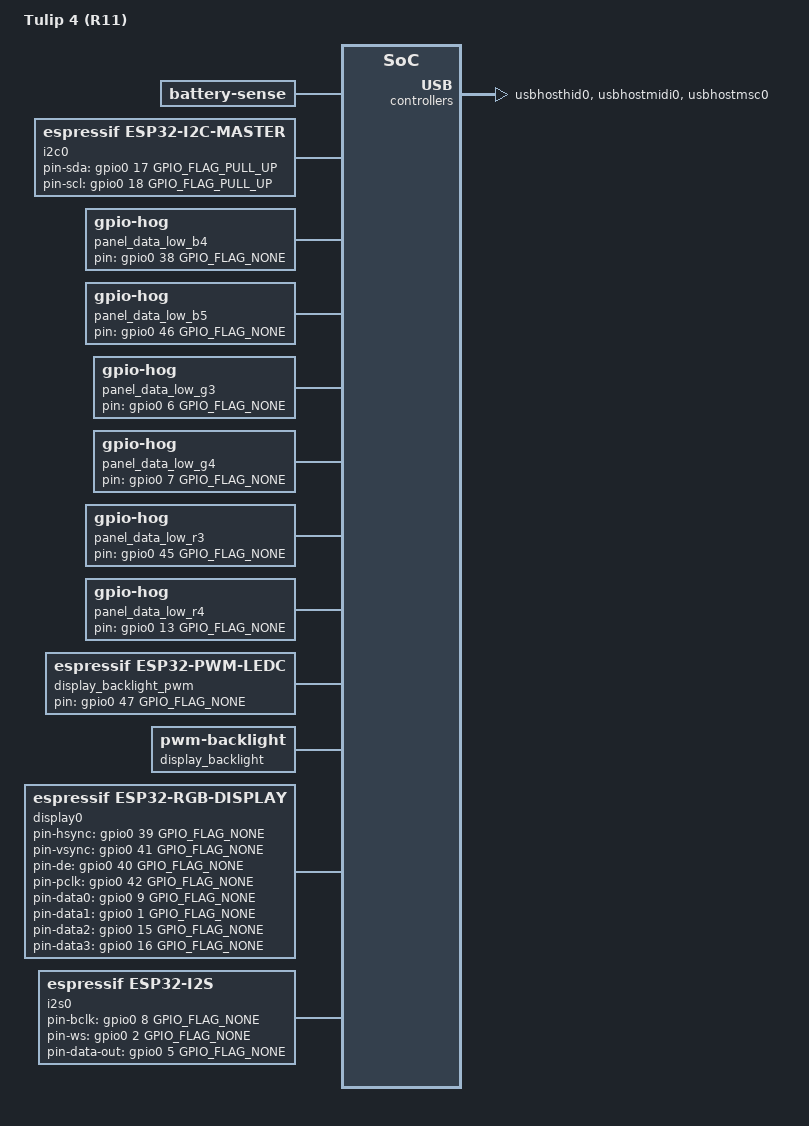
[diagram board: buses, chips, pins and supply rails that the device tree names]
/dts-v1/;

#include <tactility/bindings/battery_sense.h>
#include <tactility/bindings/root.h>
#include <tactility/bindings/esp32_adc_oneshot.h>
#include <tactility/bindings/esp32_ble.h>
#include <tactility/bindings/esp32_wifi_pinned.h>
#include <tactility/bindings/esp32_gpio.h>
#include <tactility/bindings/esp32_i2c_master.h>
#include <tactility/bindings/esp32_i2s.h>
#include <tactility/bindings/esp32_usbhost.h>
#include <tactility/bindings/esp32_pwm_ledc.h>
#include <tactility/bindings/gpio_hog.h>
#include <tactility/bindings/pwm_backlight.h>

#include <bindings/rgb_display.h>
#include <bindings/gt911.h>
#include <bindings/dummy_i2s_amp.h>

// Reference: https: //github.com/TulipCC/tulipcc/
 / {
	compatible = "root";
	model = "Tulip 4 (R11)";

	wifi0 {
		compatible = "espressif,esp32-wifi-pinned";
	};

	ble0 {
		compatible = "espressif,esp32-ble";
	};

	gpio0 {
		compatible = "espressif,esp32-gpio";
		gpio-count = <49>;
	};

	// Battery voltage is sensed through the 470K/470K divider (R34/R38) into GPIO3
	// (ADC1_CH2), i.e. a straight 2: 1 divider; the RY3730 charger IC has no I2C
	// interface to drive. Reference: tulipcc tulip/shared/py/tulip.py battery().
	adc0 {
		compatible = "espressif,esp32-adc-oneshot";
		unit-id = <ADC_UNIT_1>;
		channels = <ADC_CHANNEL_2 ADC_ATTEN_DB_12 ADC_BITWIDTH_DEFAULT>;
	};

	battery-sense {
		compatible = "battery-sense";
		io-channel = <&adc0 0>;
		reference-voltage-mv = <3300>;
		multiplier = <2000>;
	};

	// The Grove connector shares this I2C bus with the touch controller
	i2c0 {
		compatible = "espressif,esp32-i2c-master";
		port = <I2C_NUM_0>;
		clock-frequency = <100000>;
		pin-sda = <&gpio0 17 GPIO_FLAG_PULL_UP>;
		pin-scl = <&gpio0 18 GPIO_FLAG_PULL_UP>;

		touch0 {
			compatible = "goodix,gt911";
			reg = <0x5D>;
			x-max = <1024>;
			y-max = <600>;
			// R11 inverts the reset line (active-high) and needs two toggle cycles before it
			// starts responding on I2C.
			pin-reset = <&gpio0 48 GPIO_FLAG_ACTIVE_HIGH>;
			reset-pulses = <2>;
			// The controller's programmed Y range (~750) exceeds the panel's 600 rows and the
			// sensor sits slightly offset from the panel; calibrate per the reference firmware
			x-offset = <-2>;
			y-offset = <-10>;
			y-scale = <800>;
		};
	};

	// The unused panel data lines (G2 and B3 are unconnected on R11) are driven low exactly
	// like the reference firmware does, so the panel never sees floating inputs on them.
	panel_data_low_b4 {
		compatible = "gpio-hog";
		pin = <&gpio0 38 GPIO_FLAG_NONE>;
		mode = <GPIO_HOG_MODE_OUTPUT_LOW>;
	};

	panel_data_low_b5 {
		compatible = "gpio-hog";
		pin = <&gpio0 46 GPIO_FLAG_NONE>;
		mode = <GPIO_HOG_MODE_OUTPUT_LOW>;
	};

	panel_data_low_g3 {
		compatible = "gpio-hog";
		pin = <&gpio0 6 GPIO_FLAG_NONE>;
		mode = <GPIO_HOG_MODE_OUTPUT_LOW>;
	};

	panel_data_low_g4 {
		compatible = "gpio-hog";
		pin = <&gpio0 7 GPIO_FLAG_NONE>;
		mode = <GPIO_HOG_MODE_OUTPUT_LOW>;
	};

	panel_data_low_r3 {
		compatible = "gpio-hog";
		pin = <&gpio0 45 GPIO_FLAG_NONE>;
		mode = <GPIO_HOG_MODE_OUTPUT_LOW>;
	};

	panel_data_low_r4 {
		compatible = "gpio-hog";
		pin = <&gpio0 13 GPIO_FLAG_NONE>;
		mode = <GPIO_HOG_MODE_OUTPUT_LOW>;
	};

	// Backlight is active-low: the reference firmware drives duty 0 at max brightness.
	display_backlight_pwm {
		compatible = "espressif,esp32-pwm-ledc";
		pin = <&gpio0 47 GPIO_FLAG_NONE>;
		period-ns = <3333333>;
		duty-resolution = <13>;
		ledc-timer = <1>;
		ledc-channel = <1>;
		inverted;
	};

	display_backlight {
		compatible = "pwm-backlight";
		pwm = <&display_backlight_pwm>;
		brightness-level-range = <0 255>;
		brightness-default = <200>;
	};

	display0 {
		compatible = "espressif,esp32-rgb-display";
		horizontal-resolution = <1024>;
		vertical-resolution = <600>;
		pixel-clock-hz = <28000000>;
		hsync-pulse-width = <30>;
		hsync-back-porch = <16>;
		hsync-front-porch = <210>;
		vsync-pulse-width = <13>;
		vsync-back-porch = <10>;
		vsync-front-porch = <22>;
		data-width = <8>;
		bits-per-pixel = <8>;
		custom-pixel-format = <RGB_DISPLAY_PIXEL_FORMAT_RGB332>;
		num-fbs = <1>;
		pin-hsync = <&gpio0 39 GPIO_FLAG_NONE>;
		pin-vsync = <&gpio0 41 GPIO_FLAG_NONE>;
		pin-de = <&gpio0 40 GPIO_FLAG_NONE>;
		pin-pclk = <&gpio0 42 GPIO_FLAG_NONE>;
		pin-data0 = <&gpio0 9 GPIO_FLAG_NONE>; // B6
		pin-data1 = <&gpio0 1 GPIO_FLAG_NONE>; // B7
		pin-data2 = <&gpio0 15 GPIO_FLAG_NONE>; // G5
		pin-data3 = <&gpio0 16 GPIO_FLAG_NONE>; // G6
		pin-data4 = <&gpio0 4 GPIO_FLAG_NONE>; // G7
		pin-data5 = <&gpio0 10 GPIO_FLAG_NONE>; // R5
		pin-data6 = <&gpio0 21 GPIO_FLAG_NONE>; // R6
		pin-data7 = <&gpio0 14 GPIO_FLAG_NONE>; // R7
		backlight = <&display_backlight>;
	};

	i2s0 {
		compatible = "espressif,esp32-i2s";
		port = <I2S_NUM_0>;
		pin-bclk = <&gpio0 8 GPIO_FLAG_NONE>;
		pin-ws = <&gpio0 2 GPIO_FLAG_NONE>;
		pin-data-out = <&gpio0 5 GPIO_FLAG_NONE>;
	};

	speaker0 {
		compatible = "ti,pcm5101a";
		i2s = <&i2s0>;
	};

	usbhost0 {
		compatible = "espressif,esp32-usbhost";

		usbhosthid0 {
			compatible = "espressif,esp32-usbhost-hid";
		};

		usbhostmidi0 {
			compatible = "espressif,esp32-usbhost-midi";
		};

		usbhostmsc0 {
			compatible = "espressif,esp32-usbhost-msc";
		};
	};
};
